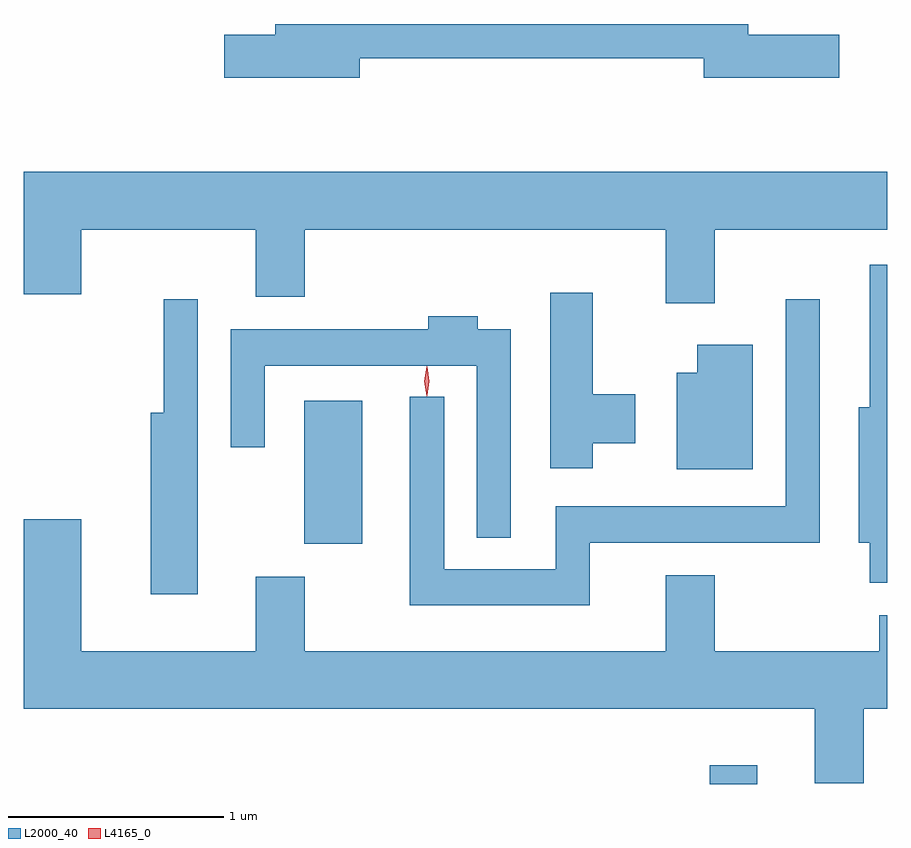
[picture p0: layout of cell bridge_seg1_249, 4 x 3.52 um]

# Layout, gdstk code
import gdstk
lib = gdstk.Library(unit=1e-6, precision=1e-09)
def R(c, l, rs):  # rectangles x0, y0, x1, y1
    for r in rs: c.add(gdstk.rectangle(r[:2], r[2:], *l))
def P(c, l, *ps):  # polygons
    for p in ps: c.add(gdstk.Polygon(p, *l))
L2000_40 = (2000, 40)
L4165_0 = (4165, 0)

bridge_seg1_249 = lib.new_cell('bridge_seg1_249')
R(bridge_seg1_249, L2000_40, [(957.516,892.568,957.734,892.654), (955.636,893.681,955.904,894.344)])
P(bridge_seg1_249, L2000_40, [(955.894,895.931),(957.486,895.931),(957.486,895.841),(958.114,895.841),(958.114,896.039),(957.694,896.039),(957.694,896.089),(955.501,896.089),(955.501,896.039),(955.266,896.039),(955.266,895.841),(955.894,895.841)],
  [(957.539,895.136),(958.337,895.136),(958.337,895.404),(954.337,895.404),(954.337,894.836),(954.604,894.836),(954.604,895.136),(955.411,895.136),(955.411,894.826),(955.639,894.826),(955.639,895.136),(957.311,895.136),(957.311,894.796),(957.539,894.796)],
  [(958.337,894.974),(958.256,894.974),(958.256,894.314),(958.206,894.314),(958.206,893.686),(958.256,893.686),(958.256,893.501),(958.337,893.501)],
  [(956.974,894.146),(957.169,894.146),(957.169,894.374),(956.974,894.374),(956.974,894.844),(956.776,894.844),(956.776,894.031),(956.974,894.031)],
  [(955.144,894.813),(954.986,894.813),(954.986,894.289),(954.926,894.289),(954.926,893.446),(955.144,893.446)],
  [(956.959,893.686),(958.024,893.686),(958.024,894.813),(957.866,894.813),(957.866,893.854),(956.801,893.854),(956.801,893.564),(956.284,893.564),(956.284,894.363),(956.126,894.363),(956.126,893.396),(956.959,893.396)],
  [(956.594,894.674),(956.439,894.674),(956.439,894.734),(956.211,894.734),(956.211,894.674),(955.296,894.674),(955.296,894.128),(955.454,894.128),(955.454,894.506),(956.436,894.506),(956.436,893.708),(956.594,893.708)],
  [(957.714,894.604),(957.456,894.604),(957.456,894.474),(957.361,894.474),(957.361,894.026),(957.714,894.026)],
  [(958.229,892.916),(958.337,892.916),(958.337,893.349),(958.301,893.349),(958.301,893.184),(957.539,893.184),(957.539,893.534),(957.311,893.534),(957.311,893.184),(955.639,893.184),(955.639,893.529),(955.411,893.529),(955.411,893.184),(954.604,893.184),(954.604,893.794),(954.337,893.794),(954.337,892.916),(958.001,892.916),(958.001,892.571),(958.229,892.571)])
P(bridge_seg1_249, L4165_0, [(956.203,894.364),(956.203,894.364),(956.193,894.433),(956.203,894.502),(956.203,894.503),(956.204,894.502),(956.213,894.433),(956.204,894.364)],
  [(956.205,894.367),(956.204,894.368),(956.195,894.434),(956.204,894.5),(956.205,894.501),(956.205,894.5),(956.215,894.434),(956.205,894.368)])

lib.write_gds('bridge_seg1_249.gds')
